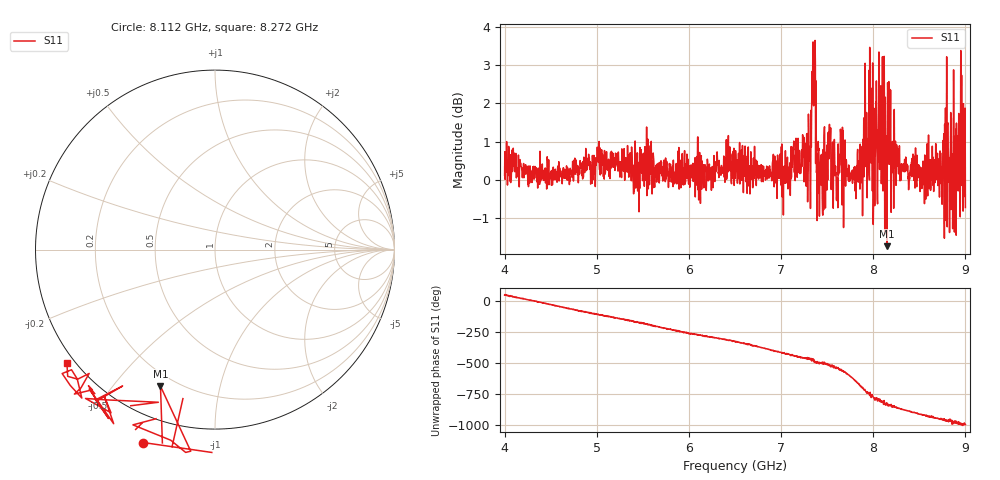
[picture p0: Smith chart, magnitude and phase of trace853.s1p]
! Created with skrf 1.8.0 (http://scikit-rf.org).
# Hz S RI R 50.0
!freq ReS11 ImS11
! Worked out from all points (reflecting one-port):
!   1601 points, 4 GHz to 9 GHz, reference 50 ohm
!   lowest |S11| = -1.7 dB at 8.15 GHz (marker M1), VSWR 10.07, Z = 7.21 - j33.4 ohm
!   phase of S11 starts at 51 deg and turns -1043 deg over the sweep
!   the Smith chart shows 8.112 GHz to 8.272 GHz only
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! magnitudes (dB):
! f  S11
! 4 GHz  0.1
! 4.625 GHz  -0.1
! 5.25 GHz  0.1
! 5.875 GHz  0.0
! 6.5 GHz  0.3
! 7.038 GHz  0.1
! 7.125 GHz  0.8
! 7.297 GHz  1.7
! 7.356 GHz  3.3
! 7.4 GHz  0.5
! 7.438 GHz  0.0
! 7.512 GHz  1.2
! 7.591 GHz  0.4
! 7.65 GHz  0.8
! 7.75 GHz  0.1
! 7.859 GHz  0.9
! 7.969 GHz  2.2
! 8.022 GHz  0.6
! 8.097 GHz  1.4
! 8.15 GHz  -1.7
! 8.162 GHz  1.4
! 8.216 GHz  0.9
! 8.375 GHz  0.4
! 8.553 GHz  0.3
! 8.8 GHz  0.6
! 8.875 GHz  0.7
! 8.972 GHz  0.5
! 9 GHz  -0.7
